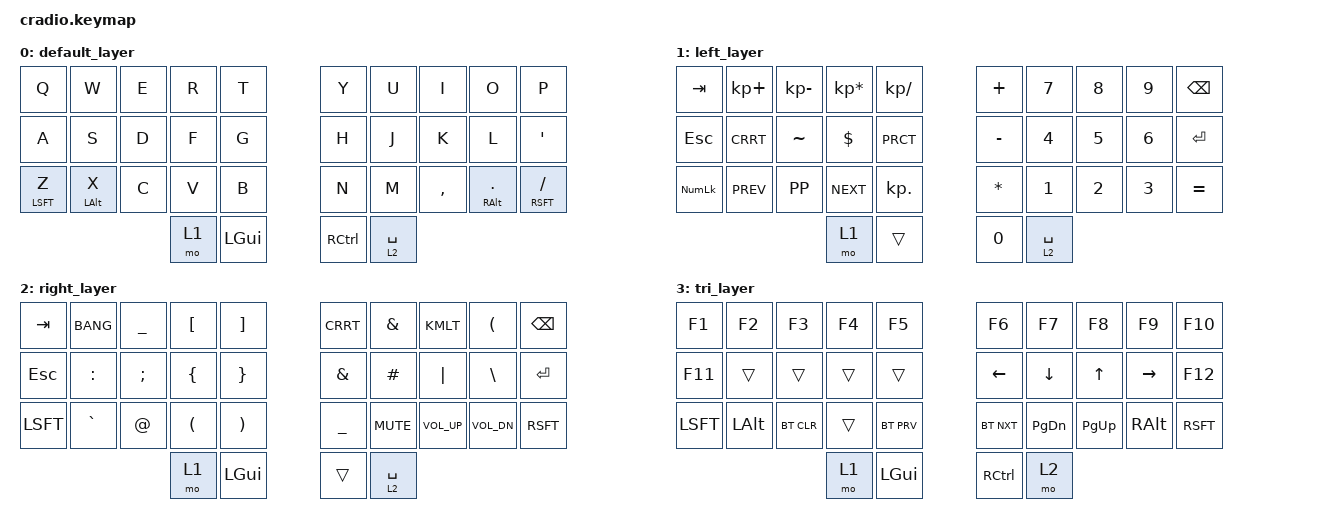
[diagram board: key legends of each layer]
/*
 * Copyright (c) 2020 The ZMK Contributors
 *
 * SPDX-License-Identifier: MIT
 */

#include <behaviors.dtsi>
#include <dt-bindings/zmk/keys.h>
#include <dt-bindings/zmk/bt.h>


&mt {
  //  flavor = "tap-preferred";
   // tapping_term_ms = <200>;
};

/ { 

    combos {
        compatible = "zmk,combos";
        combo_esc {
            timeout-ms = <50>;
            key-positions = <0 1>;
            bindings = <&kp ESC>;
        };
        
         combo_tab {
            timeout-ms = <50>;
            key-positions = <10 11>;
            bindings = <&kp TAB>;
        };
        
            combo_ralt {
            timeout-ms = <50>;
            key-positions = <17 16>;
            bindings = <&kp RALT>;
        };
        
                    combo_lalt {
            timeout-ms = <50>;
            key-positions = <11 12>;
            bindings = <&kp LALT>;
        };
        
                           combo_lgui {
            timeout-ms = <50>;
            key-positions = <12 13>;
            bindings = <&kp LGUI>;
        };
        
        
           combo_rgui {
            timeout-ms = <50>;
            key-positions = <17 18>;
            bindings = <&kp RGUI>;
        };
        

        
    };

    conditional_layers {
        compatible = "zmk,conditional-layers";
        tri_layer {
            if-layers = <1 2>;
            then-layer = <3>;
        };
    };

    behaviors {
        cm: corner_mods {
            compatible = "zmk,behavior-hold-tap";
            label = "CORNER_MODS";
            #binding-cells = <2>;
            tapping-term-ms = <200>;    // <---[[moderate duration]]
            quick-tap-ms = <0>;
            flavor = "balanced";
            bindings = <&kp>, <&kp>;
        };
    };

    keymap {
        compatible = "zmk,keymap";
                
        default_layer {
		bindings = <
		&kp Q &kp W &kp E &kp R &kp T 						&kp Y &kp U  &kp I    &kp O   &kp P 
		&kp A &kp S &kp D &kp F &kp G 			        	        &kp H &kp J &kp K &kp L &kp QUOT
		&cm LSFT Z &cm LALT X &kp C &kp V &kp B				        &kp N &kp M  &kp CMMA &cm RALT DOT &cm RSFT FSLH
          				&mo 1 &kp LGUI  				&kp RCTL &lt 2 SPC 
		>;
		};

        left_layer {
		bindings = <
		&kp TAB &kp KP_PLUS &kp KP_MINUS    &kp KP_MULTIPLY    &kp KP_DIVIDE    &kp PLUS &kp NUM_7 &kp NUM_8 &kp NUM_9 &kp BKSP 
		&kp ESC    &kp CRRT    &kp TILDE      &kp DLLR     &kp PRCT 		&kp MINUS &kp NUM_4  &kp NUM_5 &kp NUM_6  &kp RET 
		&kp KP_NLCK    &kp K_PREV 	&kp K_PP &kp K_NEXT  &kp KP_DOT 	&kp ASTRK &kp NUM_1 &kp NUM_2 &kp NUM_3  &kp EQL 
					    &mo 1  &trans  					    &kp NUM_0 &lt 2 SPC 
		>;
		};
		
		right_layer {
		bindings = <
		&kp TAB  &kp BANG &kp UNDER  &kp LBKT  &kp RBKT    			&kp CRRT  &kp AMPS &kp KMLT &kp LPRN &kp BKSP 
		&kp ESC  &kp COLON  &kp SEMI  &kp LBRC  &kp RBRC 			&kp AMPS &kp HASH  &kp PIPE  &kp BSLH   &kp ENTER
		&kp LSFT  &kp GRAVE &kp AT &kp LPAR   &kp RPAR    			&kp UNDER &kp K_MUTE &kp K_VOL_UP &kp K_VOL_DN  &kp RSFT
					  &mo 1 &kp LGUI  				&trans &lt 2 SPC 
		>;
		};	
		
		tri_layer {
		bindings = <
		&kp F1  &kp F2    &kp F3    &kp F4    &kp F5 			&kp F6 &kp F7 &kp F8 &kp F9 &kp F10
		&kp F11 &trans &trans &trans &trans                     &kp LEFT &kp DOWN  &kp UP &kp RIGHT &kp F12 
		&kp LSFT &kp LALT &bt BT_CLR &trans &bt BT_PRV          &bt BT_NXT &kp PG_DN  &kp PG_UP  &kp RALT &kp RSFT
					 &mo 1 &kp LGUI  					&kp RCTL &mo 2 
		>;
		};	
        
	};
};
